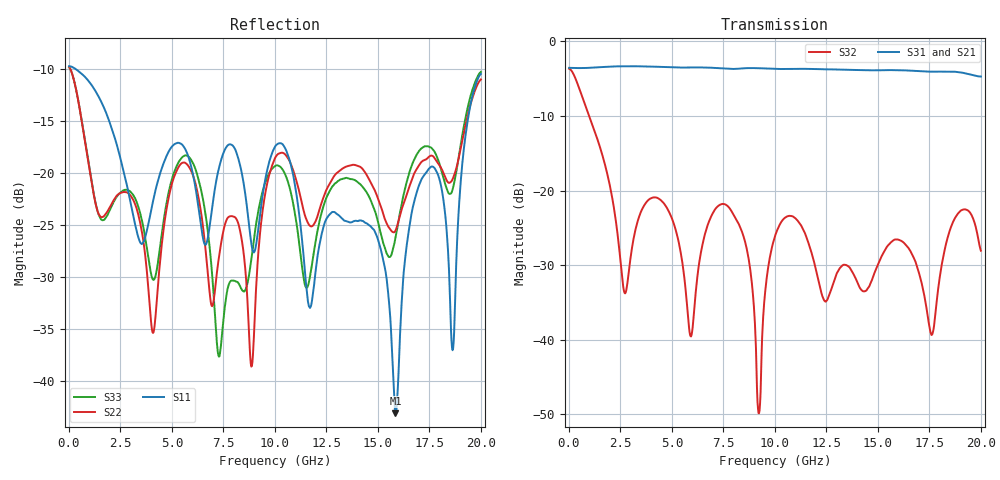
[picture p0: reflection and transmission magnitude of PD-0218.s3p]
! MARKI MICROWAVE INC.
! Email:  info@markimicrowave.com  Phone:  408-778-4200
! Model Number:  PD0218  Date:  10/08
! Filename:		PD-0218.S3P  Version: 1.0
! Description:  3-port S-parameter data for Power Divider PD-0218
! Frequency Range: 	10 MHz to 20 GHz
! Port Configuration:	PORT 1: COMMON, PORT 2 and Port 3: Output
! S3P File: Measurements: Mag<S11> Ang<S11> Mag<S12> Ang<S12> Mag<S13> Ang<S13>! row 1
!  Mag<S21> Ang<S21> Mag<S22> Ang<S22> Mag<S23> Ang<S23>! row 2
!  Mag<S31> Ang<S31> Mag<S32> Ang<S32> Mag<S33> Ang<S33>! row 3
# Hz S DB R 50
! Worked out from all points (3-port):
!   801 points, 10 MHz to 20 GHz, reference 50 ohm
!   strongest paths, dB at 10 MHz, 5.008 GHz, 10.01 GHz, 15 GHz, 20 GHz:
!     S31: -3.6, -3.5, -3.7, -3.9, -4.7
!     S21: -3.6, -3.5, -3.7, -3.9, -4.7
!     S32: -3.7, -23.8, -26.1, -29.9, -28.1
!   lowest |S11| = -43.1 dB at 15.85 GHz (marker M1), VSWR 1.01, Z = 49.8 + j0.673 ohm
!   |S11| at or under -10 dB: 330.8 MHz to end of sweep
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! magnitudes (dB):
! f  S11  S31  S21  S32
! 10 MHz  -9.7  -3.6  -3.6  -3.7
! 2.709 GHz  -20.2  -3.3  -3.3  -33.8
! 4.083 GHz  -22.7  -3.4  -3.4  -20.9
! 8.081 GHz  -17.8  -3.7  -3.7  -23.6
! 9.205 GHz  -25.2  -3.6  -3.6  -49.8
! 10.01 GHz  -17.5  -3.7  -3.7  -26.1
! 15.85 GHz  -43.1  -3.9  -3.9  -26.6
! 17.48 GHz  -19.6  -4.1  -4.1  -37.8
! 18.65 GHz  -36.9  -4.1  -4.1  -24.2
! 20 GHz  -10.5  -4.7  -4.7  -28.1
